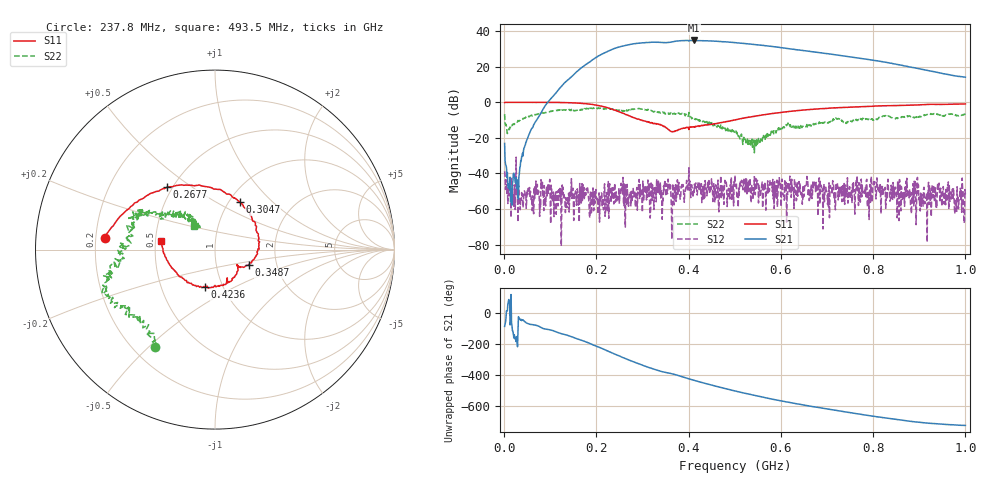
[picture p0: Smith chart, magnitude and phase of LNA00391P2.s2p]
! Created with skrf 1.9.0 (http://scikit-rf.org).
# Hz S RI R 50.0
!freq ReS11 ImS11 ReS21 ImS21 ReS12 ImS12 ReS22 ImS22
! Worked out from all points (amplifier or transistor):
!   1001 points, 1 MHz to 1 GHz, reference 50 ohm
!   highest |S21| = 34.8 dB at 410.6 MHz (marker M1)
!   |S21| within 3 dB of that: 259.6 MHz to 568.2 MHz (308.6 MHz wide, 74.6 % of centre)
!   unconditionally stable (mu >= 1): 257.8 MHz to 311.6 MHz; 312 MHz to 400.2 MHz; 400.9 MHz to end of sweep (the widest 3 of 36)
!   at 166.8 MHz: K = 3.16, MAG = 30.1 dB, |S12| = -56.7 dB
!   at 500.5 MHz: K = 1.28, MAG = 34.1 dB, |S12| = -41.0 dB
!   at 1 GHz: K = 5.58, MAG = 22.6 dB, |S12| = -51.9 dB
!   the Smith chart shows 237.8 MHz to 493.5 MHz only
!   S11 on the Smith chart (normalised r, x): 237.8 MHz: 0.24, +0.05; 267.7 MHz: 0.47, +0.40; 304.7 MHz: 1.12, +0.65; 348.7 MHz: 1.43, -0.26; 423.6 MHz: 0.82, -0.36; 493.5 MHz: 0.54, +0.06
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1000000  0.9833 0.00599  0.00355 -0.0698  -0.0101 -0.00536  0.3253 0.33
1.08892e8  0.5341 -0.8392  -0.77 -1.449  0.00028 -0.00189  0.4217 -0.3942
1.67833e8  -0.2137 -0.9095  -9.429 -0.6279  0.00136 -0.000924  0.0132 -0.6387
2.08792e8  -0.6642 -0.4329  -15.44 15.21  -0.00156 8.84e-05  -0.2453 -0.6359
2.37763e8  -0.6149 0.0639  -4.519 31.99  0.00096 -0.000996  -0.3363 -0.5454
2.67733e8  -0.2661 0.3486  20.09 36.02  -0.00105 0.00207  -0.4736 -0.3287
2.84716e8  -0.0488 0.3509  33.81 29.84  0.000368 0.00106  -0.6092 -0.2536
3.04696e8  0.1386 0.2635  45.13 15.56  -0.00451 0.000353  -0.6103 -0.1678
3.34666e8  0.2462 0.00305  48.08 -9.086  -0.000213 0.00603  -0.5127 -0.0227
3.48652e8  0.1877 -0.0874  44.54 -17.54  -0.00223 0.00616  -0.4758 0.0238
3.76624e8  0.1275 -0.1051  40.04 -34.99  -0.000903 0.00243  -0.4472 0.2051
4.1059e8  0.0222 -0.2044  17.12 -52.31  -0.00119 0.00293  -0.2954 0.1918
4.23577e8  -0.0562 -0.2079  6.915 -54.06  0.00424 0.00322  -0.2309 0.1813
4.55545e8  -0.206 -0.1395  -16.18 -49.95  0.00376 0.00129  -0.1569 0.1938
4.93507e8  -0.2982 0.0501  -34.95 -33.96  -0.000965 -0.00139  -0.1165 0.1333
5.005e8  -0.3011 0.0945  -37.32 -30.34  0.00285 -0.00845  -0.1229 0.092
5.4046e8  -0.2523 0.3109  -41.6 -9.153  0.00313 -0.00242  -0.0749 0.0182
5.88412e8  -0.0614 0.4945  -34.57 10.91  0.0037 -0.00244  -0.1264 -0.0724
6.67333e8  0.3199 0.5455  -13.11 22.95  0.00176 -0.000871  -0.2282 -0.053
7.53247e8  0.627 0.3831  3.63 18.41  0.00258 -0.002  -0.2867 0.0123
8.34166e8  0.7892 0.1518  9.375 8.849  -0.00262 -0.00119  -0.4063 0.0306
1e9  0.8179 -0.3792  5.088 -0.1544  0.00184 0.00177  -0.2691 0.3541
